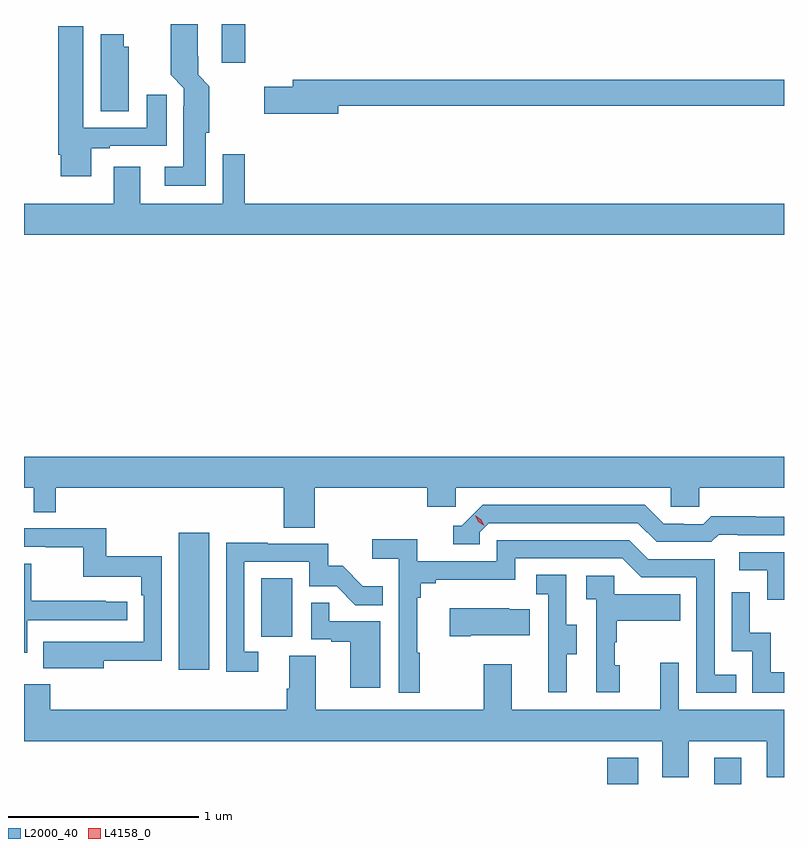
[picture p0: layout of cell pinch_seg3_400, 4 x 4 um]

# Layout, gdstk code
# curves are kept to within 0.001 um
import gdstk
lib = gdstk.Library(unit=1e-6, precision=1e-09)
def R(c, l, rs):  # rectangles x0, y0, x1, y1
    for r in rs: c.add(gdstk.rectangle(r[:2], r[2:], *l))
def P(c, l, *ps):  # polygons
    for p in ps: c.add(gdstk.Polygon(p, *l))
L2000_40 = (2000, 40)
L4158_0 = (4158, 0)

pinch_seg3_400 = lib.new_cell('pinch_seg3_400')
R(pinch_seg3_400, L2000_40, [(935.483,696.694,935.647,696.832), (936.047,696.694,936.187,696.832), (933.227,697.296,933.388,698.017), (933.662,697.47,933.826,697.777), (933.455,700.491,933.578,700.694)])
P(pinch_seg3_400, L2000_40, [(933.37,700.122),(933.388,700.122),(933.388,700.367),(933.329,700.426),(933.328,700.694),(933.186,700.694),(933.185,700.426),(933.255,700.356),(933.255,700.262),(933.251,700.262),(933.251,699.943),(933.153,699.943),(933.153,699.842),(933.37,699.842)],
  [(932.767,700.041),(932.863,700.041),(932.863,700.053),(933.163,700.053),(933.163,700.321),(933.059,700.321),(933.059,700.149),(932.725,700.149),(932.725,700.681),(932.594,700.681),(932.594,700.006),(932.606,700.006),(932.606,699.894),(932.767,699.894)],
  [(932.965,700.575),(932.938,700.575),(932.938,700.639),(932.816,700.639),(932.816,700.234),(932.965,700.234)],
  [(934.066,700.264),(936.413,700.264),(936.413,700.4),(933.827,700.4),(933.827,700.364),(933.678,700.364),(933.678,700.222),(934.066,700.222)],
  [(936.413,699.748),(933.575,699.748),(933.575,700.009),(933.459,700.009),(933.459,699.748),(933.025,699.748),(933.025,699.943),(932.885,699.943),(932.885,699.748),(932.413,699.748),(932.413,699.584),(936.413,699.584)],
  [(933.944,698.252),(934.535,698.252),(934.535,698.154),(934.686,698.154),(934.686,698.252),(935.817,698.252),(935.817,698.154),(935.967,698.154),(935.967,698.252),(936.413,698.252),(936.413,698.416),(932.413,698.416),(932.413,698.252),(932.463,698.252),(932.463,698.125),(932.579,698.125),(932.579,698.252),(933.779,698.252),(933.779,698.044),(933.944,698.044)],
  [(934.812,698.019),(934.86,698.067),(935.643,698.067),(935.742,697.968),(936.031,697.968),(936.07,698.007),(936.169,698.007),(936.169,698.004),(936.413,698.004),(936.413,698.101),(936.264,698.101),(936.264,698.104),(936.031,698.104),(935.989,698.061),(935.886,698.061),(935.886,698.064),(935.779,698.064),(935.68,698.163),(934.827,698.163),(934.716,698.052),(934.673,698.052),(934.673,697.956),(934.812,697.956)],
  [(932.833,697.342),(933.138,697.342),(933.138,697.894),(932.845,697.894),(932.845,698.04),(932.413,698.04),(932.413,697.944),(932.527,697.944),(932.527,697.939),(932.724,697.939),(932.724,697.784),(933.029,697.784),(933.029,697.688),(933.042,697.688),(933.042,697.443),(932.729,697.443),(932.729,697.444),(932.515,697.444),(932.515,697.304),(932.833,697.304)],
  [(934.495,697.385),(934.483,697.385),(934.483,697.673),(934.502,697.673),(934.502,697.75),(934.579,697.75),(934.579,697.769),(934.998,697.769),(934.998,697.881),(935.562,697.881),(935.661,697.782),(935.952,697.782),(935.952,697.173),(936.161,697.173),(936.161,697.269),(936.048,697.269),(936.048,697.878),(935.698,697.878),(935.599,697.977),(934.902,697.977),(934.902,697.866),(934.484,697.866),(934.484,697.982),(934.245,697.982),(934.245,697.88),(934.386,697.88),(934.386,697.173),(934.495,697.173)],
  [(933.646,697.389),(933.573,697.389),(933.573,697.863),(933.915,697.863),(933.915,697.734),(934.059,697.734),(934.157,697.636),(934.301,697.636),(934.301,697.735),(934.197,697.735),(934.09,697.842),(934.014,697.842),(934.014,697.959),(933.695,697.959),(933.695,697.964),(933.477,697.964),(933.477,697.284),(933.646,697.284)],
  [(936.413,697.914),(936.177,697.914),(936.177,697.818),(936.324,697.818),(936.324,697.665),(936.413,697.665)],
  [(932.43,697.557),(932.956,697.557),(932.956,697.653),(932.843,697.653),(932.843,697.658),(932.45,697.658),(932.45,697.854),(932.413,697.854),(932.413,697.385),(932.43,697.385)],
  [(935.269,697.378),(935.323,697.378),(935.323,697.533),(935.268,697.533),(935.268,697.796),(935.109,697.796),(935.109,697.693),(935.172,697.693),(935.172,697.389),(935.171,697.389),(935.171,697.176),(935.269,697.176)],
  [(935.548,697.32),(935.523,697.32),(935.523,697.439),(935.533,697.439),(935.533,697.553),(935.867,697.553),(935.867,697.693),(935.52,697.693),(935.52,697.791),(935.373,697.791),(935.373,697.667),(935.424,697.667),(935.424,697.176),(935.548,697.176)],
  [(936.413,697.282),(936.344,697.282),(936.344,697.49),(936.234,697.49),(936.234,697.702),(936.138,697.702),(936.138,697.392),(936.246,697.392),(936.246,697.173),(936.413,697.173)],
  [(934.288,697.551),(934.019,697.551),(934.019,697.649),(933.924,697.649),(933.924,697.455),(934.031,697.455),(934.031,697.443),(934.13,697.443),(934.13,697.2),(934.288,697.2)],
  [(934.765,697.478),(935.075,697.478),(935.075,697.615),(934.967,697.615),(934.967,697.618),(934.653,697.618),(934.653,697.471),(934.765,697.471)],
  [(935.911,696.92),(936.323,696.92),(936.323,696.73),(936.413,696.73),(936.413,697.084),(935.859,697.084),(935.859,697.333),(935.762,697.333),(935.762,697.084),(934.981,697.084),(934.981,697.324),(934.834,697.324),(934.834,697.084),(933.949,697.084),(933.949,697.37),(933.809,697.37),(933.809,697.196),(933.797,697.196),(933.797,697.084),(932.552,697.084),(932.552,697.219),(932.413,697.219),(932.413,696.92),(935.771,696.92),(935.771,696.73),(935.911,696.73)])
P(pinch_seg3_400, L4158_0, [(934.835,698.052),(934.805,698.073),(934.789,698.106),(934.789,698.106),(934.79,698.106),(934.82,698.086),(934.835,698.052),(934.835,698.052)])

lib.write_gds('pinch_seg3_400.gds')
